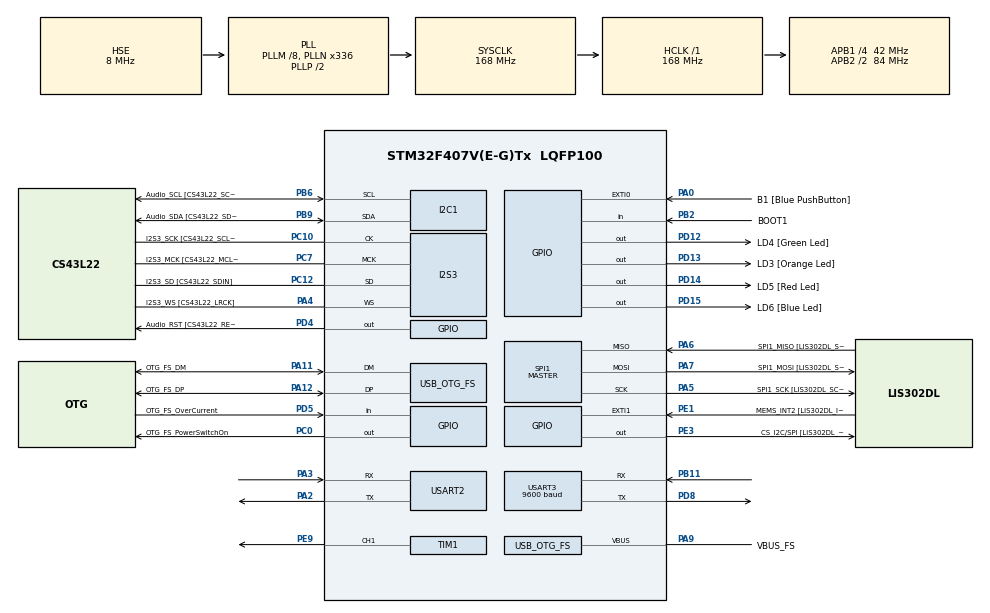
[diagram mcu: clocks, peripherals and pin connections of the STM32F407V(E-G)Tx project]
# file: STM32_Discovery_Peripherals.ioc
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Dma.Request0=USART3_RX
Dma.Request1=USART2_RX
Dma.USART2_RX.1.Direction=DMA_PERIPH_TO_MEMORY
Dma.USART2_RX.1.FIFOMode=DMA_FIFOMODE_DISABLE
Dma.USART2_RX.1.Instance=DMA1_Stream5
Dma.USART2_RX.1.MemDataAlignment=DMA_MDATAALIGN_BYTE
Dma.USART2_RX.1.MemInc=DMA_MINC_ENABLE
Dma.USART2_RX.1.Mode=DMA_CIRCULAR
Dma.USART2_RX.1.PeriphDataAlignment=DMA_PDATAALIGN_BYTE
Dma.USART2_RX.1.PeriphInc=DMA_PINC_DISABLE
Dma.USART2_RX.1.Priority=DMA_PRIORITY_LOW
Dma.USART3_RX.0.Direction=DMA_PERIPH_TO_MEMORY
Dma.USART3_RX.0.FIFOMode=DMA_FIFOMODE_DISABLE
Dma.USART3_RX.0.Instance=DMA1_Stream1
Dma.USART3_RX.0.MemDataAlignment=DMA_MDATAALIGN_BYTE
Dma.USART3_RX.0.MemInc=DMA_MINC_ENABLE
Dma.USART3_RX.0.Mode=DMA_CIRCULAR
Dma.USART3_RX.0.PeriphDataAlignment=DMA_PDATAALIGN_BYTE
Dma.USART3_RX.0.PeriphInc=DMA_PINC_DISABLE
Dma.USART3_RX.0.Priority=DMA_PRIORITY_LOW
I2S3.AudioFreq-Half_Duplex_Master=I2S_AUDIOFREQ_96K
I2S3.ErrorAudioFreq=-2.34 %
I2S3.ErrorAudioFreq-Half_Duplex_Master=0.8 %
I2S3.FullDuplexMode=I2S_FULLDUPLEXMODE_DISABLE
I2S3.Instance=SPI$Index
I2S3.RealAudioFreq=93.75 KHz
I2S3.RealAudioFreq-Half_Duplex_Master=96.774 KHz
I2S3.VirtualMode=I2S_MODE_MASTER
Mcu.Family=STM32F4
Mcu.Name=STM32F407V(E-G)Tx
Mcu.Package=LQFP100
NVIC.DMA1_Stream1_IRQn=true\:0\:0\:false\:false\:true\:false\:true\:true
NVIC.DMA1_Stream5_IRQn=true\:0\:0\:false\:false\:true\:false\:true\:true
NVIC.OTG_FS_IRQn=true\:0\:0\:false\:false\:true\:true\:true\:true
NVIC.PriorityGroup=NVIC_PRIORITYGROUP_0
NVIC.USART2_IRQn=true\:0\:0\:false\:false\:true\:true\:true\:true
PA0-WKUP.GPIO_Label=B1 [Blue PushButton]
PA0-WKUP.GPIO_ModeDefaultEXTI=GPIO_MODE_EVT_RISING
PA0-WKUP.GPIO_PuPd=GPIO_NOPULL
PA0-WKUP.Signal=GPXTI0
PA10.GPIO_Label=OTG_FS_ID
PA10.GPIO_Mode=GPIO_MODE_AF_PP
PA10.GPIO_PuPd=GPIO_NOPULL
PA10.GPIO_Speed=GPIO_SPEED_FREQ_LOW
PA10.Signal=USB_OTG_FS_ID
PA11.GPIO_Label=OTG_FS_DM
PA11.GPIO_Mode=GPIO_MODE_AF_PP
PA11.GPIO_PuPd=GPIO_NOPULL
PA11.GPIO_Speed=GPIO_SPEED_FREQ_LOW
PA11.Mode=Host_Only
PA11.Signal=USB_OTG_FS_DM
PA12.GPIO_Label=OTG_FS_DP
PA12.GPIO_Mode=GPIO_MODE_AF_PP
PA12.GPIO_PuPd=GPIO_NOPULL
PA12.GPIO_Speed=GPIO_SPEED_FREQ_LOW
PA12.Mode=Host_Only
PA12.Signal=USB_OTG_FS_DP
PA13.GPIO_Label=SWDIO
PA13.Mode=Serial_Wire
PA13.Signal=SYS_JTMS-SWDIO
PA14.GPIO_Label=SWCLK
PA14.Mode=Serial_Wire
PA14.Signal=SYS_JTCK-SWCLK
PA2.Mode=Asynchronous
PA2.Signal=USART2_TX
PA3.Mode=Asynchronous
PA3.Signal=USART2_RX
PA4.GPIO_Label=I2S3_WS [CS43L22_LRCK]
PA4.GPIO_Mode=GPIO_MODE_AF_PP
PA4.GPIO_PuPd=GPIO_NOPULL
PA4.GPIO_Speed=GPIO_SPEED_FREQ_LOW
PA4.Mode=Half_Duplex_Master
PA4.Signal=I2S3_WS
PA5.GPIO_Label=SPI1_SCK [LIS302DL_SCL/SPC]
PA5.GPIO_Mode=GPIO_MODE_AF_PP
PA5.GPIO_PuPd=GPIO_NOPULL
PA5.GPIO_Speed=GPIO_SPEED_FREQ_LOW
PA5.Mode=Full_Duplex_Master
PA5.Signal=SPI1_SCK
PA6.GPIO_Label=SPI1_MISO [LIS302DL_SDO]
PA6.GPIO_Mode=GPIO_MODE_AF_PP
PA6.GPIO_PuPd=GPIO_NOPULL
PA6.GPIO_Speed=GPIO_SPEED_FREQ_LOW
PA6.Mode=Full_Duplex_Master
PA6.Signal=SPI1_MISO
PA7.GPIO_Label=SPI1_MOSI [LIS302DL_SDA/SDI/SDO]
PA7.GPIO_Mode=GPIO_MODE_AF_PP
PA7.GPIO_PuPd=GPIO_NOPULL
PA7.GPIO_Speed=GPIO_SPEED_FREQ_LOW
PA7.Mode=Full_Duplex_Master
PA7.Signal=SPI1_MOSI
PA9.GPIO_Label=VBUS_FS
PA9.GPIO_Mode=GPIO_MODE_INPUT
PA9.GPIO_PuPd=GPIO_NOPULL
PA9.Mode=Activate_VBUS
PA9.Signal=USB_OTG_FS_VBUS
PB10.GPIO_Label=CLK_IN [MP45DT02_CLK]
PB10.GPIO_Mode=GPIO_MODE_AF_PP
PB10.GPIO_PuPd=GPIO_NOPULL
PB10.GPIO_Speed=GPIO_SPEED_FREQ_LOW
PB10.Signal=I2S2_CK
PB11.Mode=Asynchronous
PB11.Signal=USART3_RX
PB2.GPIO_Label=BOOT1
PB2.GPIO_Mode=GPIO_MODE_INPUT
PB2.GPIO_PuPd=GPIO_NOPULL
PB2.Signal=GPIO_Input
PB3.GPIO_Label=SWO
PB3.Signal=SYS_JTDO-SWO
PB6.GPIO_Label=Audio_SCL [CS43L22_SCL]
PB6.GPIO_Mode=GPIO_MODE_AF_OD
PB6.GPIO_Pu=GPIO_PULLUP
PB6.GPIO_PuPd=GPIO_NOPULL
PB6.GPIO_Speed=GPIO_SPEED_FREQ_LOW
PB6.Mode=I2C
PB6.Signal=I2C1_SCL
PB9.GPIO_Label=Audio_SDA [CS43L22_SDA]
PB9.GPIO_Mode=GPIO_MODE_AF_OD
PB9.GPIO_Pu=GPIO_PULLUP
PB9.GPIO_PuPd=GPIO_NOPULL
PB9.GPIO_Speed=GPIO_SPEED_FREQ_LOW
PB9.Mode=I2C
PB9.Signal=I2C1_SDA
PC0.GPIO_Label=OTG_FS_PowerSwitchOn
PC0.GPIO_PuPd=GPIO_NOPULL
PC0.GPIO_Speed=GPIO_SPEED_FREQ_LOW
PC0.PinState=GPIO_PIN_SET
PC0.Signal=GPIO_Output
PC10.GPIO_Label=I2S3_SCK [CS43L22_SCLK]
PC10.GPIO_Mode=GPIO_MODE_AF_PP
PC10.GPIO_PuPd=GPIO_NOPULL
PC10.GPIO_Speed=GPIO_SPEED_FREQ_LOW
PC10.Mode=Half_Duplex_Master
PC10.Signal=I2S3_CK
PC12.GPIO_Label=I2S3_SD [CS43L22_SDIN]
PC12.GPIO_Mode=GPIO_MODE_AF_PP
PC12.GPIO_PuPd=GPIO_NOPULL
PC12.GPIO_Speed=GPIO_SPEED_FREQ_LOW
PC12.Mode=Half_Duplex_Master
PC12.Signal=I2S3_SD
PC14-OSC32_IN.GPIO_Label=PC14-OSC32_IN
PC14-OSC32_IN.Mode=LSE-External-Oscillator
PC14-OSC32_IN.Signal=RCC_OSC32_IN
PC15-OSC32_OUT.GPIO_Label=PC15-OSC32_OUT
PC15-OSC32_OUT.Mode=LSE-External-Oscillator
PC15-OSC32_OUT.Signal=RCC_OSC32_OUT
PC3.GPIO_Label=PDM_OUT [MP45DT02_DOUT]
PC3.GPIO_Mode=GPIO_MODE_AF_PP
PC3.GPIO_PuPd=GPIO_NOPULL
PC3.GPIO_Speed=GPIO_SPEED_FREQ_LOW
PC3.Signal=I2S2_SD
PC7.GPIO_Label=I2S3_MCK [CS43L22_MCLK]
PC7.GPIO_Mode=GPIO_MODE_AF_PP
PC7.GPIO_PuPd=GPIO_NOPULL
PC7.GPIO_Speed=GPIO_SPEED_FREQ_LOW
PC7.Mode=Master_Clock_Activated
PC7.Signal=I2S3_MCK
PD12.GPIO_Label=LD4 [Green Led]
PD12.GPIO_PuPd=GPIO_NOPULL
PD12.GPIO_Speed=GPIO_SPEED_FREQ_LOW
PD12.Signal=GPIO_Output
PD13.GPIO_Label=LD3 [Orange Led]
PD13.GPIO_PuPd=GPIO_NOPULL
PD13.GPIO_Speed=GPIO_SPEED_FREQ_LOW
PD13.Signal=GPIO_Output
PD14.GPIO_Label=LD5 [Red Led]
PD14.GPIO_PuPd=GPIO_NOPULL
PD14.GPIO_Speed=GPIO_SPEED_FREQ_LOW
PD14.Signal=GPIO_Output
PD15.GPIO_Label=LD6 [Blue Led]
PD15.GPIO_PuPd=GPIO_NOPULL
PD15.GPIO_Speed=GPIO_SPEED_FREQ_LOW
PD15.Signal=GPIO_Output
PD4.GPIO_Label=Audio_RST [CS43L22_RESET]
PD4.GPIO_PuPd=GPIO_NOPULL
PD4.GPIO_Speed=GPIO_SPEED_FREQ_LOW
PD4.Signal=GPIO_Output
PD5.GPIO_Label=OTG_FS_OverCurrent
PD5.GPIO_Mode=GPIO_MODE_INPUT
PD5.GPIO_PuPd=GPIO_NOPULL
PD5.Signal=GPIO_Input
PD8.Mode=Asynchronous
PD8.Signal=USART3_TX
PE1.GPIO_Label=MEMS_INT2 [LIS302DL_INT2]
PE1.GPIO_ModeDefaultEXTI=GPIO_MODE_EVT_RISING
PE1.GPIO_PuPd=GPIO_NOPULL
PE1.Signal=GPXTI1
PE3.GPIO_Label=CS_I2C/SPI [LIS302DL_CS_I2C/SPI]
PE3.GPIO_PuPd=GPIO_NOPULL
PE3.GPIO_Speed=GPIO_SPEED_FREQ_LOW
PE3.Signal=GPIO_Output
PE9.Signal=S_TIM1_CH1
PH0-OSC_IN.GPIO_Label=PH0-OSC_IN
PH0-OSC_IN.Mode=HSE-External-Oscillator
PH0-OSC_IN.Signal=RCC_OSC_IN
PH1-OSC_OUT.GPIO_Label=PH1-OSC_OUT
PH1-OSC_OUT.Mode=HSE-External-Oscillator
PH1-OSC_OUT.Signal=RCC_OSC_OUT
ProjectManager.HeapSize=0x200
ProjectManager.StackSize=0x400
ProjectManager.TargetToolchain=STM32CubeIDE
RCC.48MHZClocksFreq_Value=48000000
RCC.AHBFreq_Value=168000000
RCC.APB1CLKDivider=RCC_HCLK_DIV4
RCC.APB1Freq_Value=42000000
RCC.APB1TimFreq_Value=84000000
RCC.APB2CLKDivider=RCC_HCLK_DIV2
RCC.APB2Freq_Value=84000000
RCC.APB2TimFreq_Value=168000000
RCC.CortexFreq_Value=168000000
RCC.HCLKFreq_Value=168000000
RCC.HSE_VALUE=8000000
RCC.HSI_VALUE=16000000
RCC.PLLM=8
RCC.PLLN=336
RCC.PLLQ=7
RCC.SYSCLKFreq_VALUE=168000000
RCC.SYSCLKSource=RCC_SYSCLKSOURCE_PLLCLK
RCC.VCOOutputFreq_Value=336000000
SH.S_TIM1_CH1.0=TIM1_CH1,PWM Generation1 CH1
SPI1.BaudRatePrescaler-Full_Duplex_Master=SPI_BAUDRATEPRESCALER_2
SPI1.CalculateBaudRate-Full_Duplex_Master=42.0 MBits/s
SPI1.Direction=SPI_DIRECTION_2LINES
SPI1.Mode=SPI_MODE_MASTER
SPI1.Mode-Full_Duplex_Master=SPI_MODE_MASTER
SPI1.VirtualType=VM_MASTER
TIM1.Channel-PWM\ Generation1\ CH1=TIM_CHANNEL_1
TIM1.Period=20000
TIM1.Prescaler=168
USART2.VirtualMode=VM_ASYNC
USART3.BaudRate=9600
USART3.VirtualMode=VM_ASYNC
USB_HOST.BSP.number=1
USB_HOST.USBH_HandleTypeDef-CDC_FS=hUsbHostFS
USB_HOST.VirtualModeFS=Cdc
USB_HOST0.BSP.STBoard=false
USB_HOST0.BSP.api=Unknown
USB_HOST0.BSP.instance=PC0
USB_HOST0.BSP.ip=GPIO
USB_HOST0.BSP.mode=Output
USB_HOST0.BSP.name=Drive_VBUS_FS
USB_HOST0.BSP.solution=PC0
USB_OTG_FS.VirtualMode=Host_Only
USB_OTG_FS.phy_itface=HCD_PHY_EMBEDDED
VP_TIM1_VS_ClockSourceINT.Mode=Internal
VP_USB_HOST_VS_USB_HOST_CDC_FS.Mode=CDC_FS
board=STM32F407G-DISC1

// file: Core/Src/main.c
/* USER CODE BEGIN Header */
/**
  ******************************************************************************
  * @file           : main.c
  * @brief          : Main program body
  ******************************************************************************
  * @attention
  *
  * Copyright (c) 2024 STMicroelectronics.
  * All rights reserved.
  *
  * This software is licensed under terms that can be found in the LICENSE file
  * in the root directory of this software component.
  * If no LICENSE file comes with this software, it is provided AS-IS.
  *
  ******************************************************************************
  */
/* USER CODE END Header */
#include "main.h"
#include "usb_host.h"

/* USER CODE BEGIN Includes */
#include <math.h>
#include <string.h>
#include <stdio.h>
/* USER CODE END Includes */

/* USER CODE BEGIN PTD */
void format_data(float time, float latitude, float longitude);
void printd();
int parse_GPS(char* start, char* end);
/* USER CODE END PTD */

/* USER CODE BEGIN PD */
#define LOOP_DELAY 1000
#define GPS_BUF_N 120//512
#define BNO055_ADDRESS 0x28
#define BNO055_MODE_COMPASS 0x09
#define BNO055_ADDR_OPRMODE 0x3D
#define BNO055_ADDR_HEADING 0x1A
/* USER CODE END PD */

I2C_HandleTypeDef hi2c1;

I2S_HandleTypeDef hi2s3;

SPI_HandleTypeDef hspi1;

TIM_HandleTypeDef htim1;

UART_HandleTypeDef huart2;
UART_HandleTypeDef huart3;
DMA_HandleTypeDef hdma_usart2_rx;
DMA_HandleTypeDef hdma_usart3_rx;

/* USER CODE BEGIN PV */
//char* items[6];
char GPS_Buf[GPS_BUF_N];
uint8_t Rx_Data_Ready_Flag = 0;
char *GPS_Data_Ptr;

float Time, Latitude, Longitude;
int lat_degrees, long_degrees;
int lat_min, long_min;
int lat_sec, lonh_sec;
float Heading;
int Hours, Min, Sec;

uint8_t UART3_Rx_buf[GPS_BUF_N];
uint8_t UART2_Tx_buf[100];

/* USER CODE END PV */

void SystemClock_Config(void);
static void MX_GPIO_Init(void);
static void MX_DMA_Init(void);
static void MX_I2C1_Init(void);
static void MX_I2S3_Init(void);
static void MX_SPI1_Init(void);
static void MX_USART2_UART_Init(void);
static void MX_USART3_UART_Init(void);
static void MX_TIM1_Init(void);
void MX_USB_HOST_Process(void);

/* USER CODE BEGIN 0 */

void HAL_UART_RxCpltCallback(UART_HandleTypeDef *huart) {
	if (huart == &huart2) {
		HAL_GPIO_TogglePin(GPIOD, GPIO_PIN_15); // Blue LED
		memcpy(GPS_Buf, UART3_Rx_buf, GPS_BUF_N-1);
		GPS_Buf[GPS_BUF_N-1] = '\0';
		//HAL_UART_Transmit(&huart2, GPS_Buf, strlen((char*) GPS_Buf), HAL_MAX_DELAY);
		char* Data_Buffer_ptr = strnstr((char*) GPS_Buf, "GPGGA", GPS_BUF_N);
		if (Data_Buffer_ptr == 0) return;

		/*if (Data_Buffer_ptr != NULL) {
			// Print the value of Data_Buffer_ptr to see its location
			HAL_UART_Transmit(&huart2, (uint8_t*) "Here!\r\n", 8, HAL_MAX_DELAY);
		    HAL_UART_Transmit(&huart2, (uint8_t*) Data_Buffer_ptr, strlen(Data_Buffer_ptr), HAL_MAX_DELAY);
		} else {
		    // If "GPGGA" sentence not found, print an error message
		    HAL_UART_Transmit(&huart2, (uint8_t*) "GPGGA not found\r\n", 17, HAL_MAX_DELAY);
		}
		*/

		parse_GPS(Data_Buffer_ptr, GPS_Buf+GPS_BUF_N);

		//float t, lat, lon;
		//int res = sscanf((char*) Data_Buffer_ptr, "GPGGA,%f,%f,N,%f,W", &t, &lat, &lon);
		//sscanf((char*) items[2], "GPGGA,%f,%f,N,%f,W", &t, &lat, &lon);
		/*if (res == 3) {
			Time = t;
			Latitude = lat;
			Longitude = lon;
		}*/
	}
}

int parse_GPS(char* start, char* end) {
	// GPGGA,035140.00,4739.22314,N,12218.23740,W,2,08,1.14,49.3,M,-18.8,M,,0000*55

	char* ptr = start;

	// Put this outside, make it available to other functions
	char* items[6];
	int i = 0;

	items[i++] = ptr;

	while (ptr < end) {
		if (*ptr == ',') {
			*ptr = '\0';
			if (i < 6) {
				items[i++] = ptr+1;
			} else break;
		}
		ptr++;
	}

	Time = atof(items[1]);
	Latitude = atof(items[2]);
	Longitude = atof(items[4]);

	format_data(Time, Latitude, Longitude);

	//HAL_UART_Transmit(&huart2, items[1], strlen((char*) items[1]), HAL_MAX_DELAY);
	//HAL_UART_Transmit(&huart2, items[2], strlen((char*) items[2]), HAL_MAX_DELAY);
	//HAL_UART_Transmit(&huart2, items[4], strlen((char*) items[4]), HAL_MAX_DELAY);

	return 0;
}

void format_data(float time, float latitude, float longitude) {

	// GPGGA,035140.00,4739.22314,N,12218.23740,W,2,08,1.14,49.3,M,-18.8,M,,0000*55
	Hours = (int)time / 10000;
	Min = (int)(time- (Hours * 10000)) / 100;
	Sec = (int)(time - ((Hours * 10000) + (Min * 100)));

	// 4739.22314
	lat_degrees = (int)( latitude / 100); // 4739.22314 / 100 = 47
	lat_min = (int)(latitude - (lat_degrees * 100)); // 4739.22314 - 4700 = 39.22314 --> 39
	lat_sec = (int)((latitude - ((int)latitude)) * 60); // 4739.22314 - 4739 = .22314 * 60 = 13

	// 12218.23740
	long_degrees = (int)( longitude / 100); // 12218.23740 / 100 = 122
	long_min = (int)(longitude - (lat_degrees * 100)); // 12218.23740 - 12200 = 18.23740 --> 18
	long_sec = (int)((longitude - ((int)longitude)) * 60); // 12218.23740 - 12218 = .23740 * 60 = 14

	sprintf((char*) UART2_Tx_buf, "Time= %d:%d:%d, Latitude = Degrees:%d Min:%d Sec:%d, Longitude = Degrees:%d Min:%d Sec:%d\r\n",
				Hours-8, Min, Sec, lat_degrees, lat_min, lat_sec, long_degrees, long_min, long_sec);
	printd();
}

/*void format_data(float Time, float Lat, float Long) {
	Hours = (int)Time / 10000;
	Min = (int)(Time - (Hours * 10000)) / 100;
	Sec = (int)(Time - ((Hours * 10000) + (Min * 100)));
	//sprintf((char*) UART2_Tx_buf, "Time=%d:%d:%d Latitude=%f, Longitude=%f\r\n",
			//Hours-8, Min, Sec, Lat, Long);
	//printd();
}*/

void read_heading() {
	uint8_t data[2];
	HAL_I2C_Mem_Read(&hi2c1, BNO055_ADDRESS << 1, BNO055_ADDR_HEADING, I2C_MEMADD_SIZE_8BIT, data, 2, HAL_MAX_DELAY);
	Heading = (float)((int16_t)(data[1] << 8 | data[0])) / 16.0;
}

void set_steering(float direction) {
	int pulse = direction*500+1500;
	if (pulse > 2000) pulse = 2000;
	if (pulse < 1000) pulse = 1000;
	__HAL_TIM_SET_COMPARE(&htim1, TIM_CHANNEL_1, pulse);
}

void printd() {
	HAL_UART_Transmit(&huart2, UART2_Tx_buf, strlen((char*) UART2_Tx_buf), HAL_MAX_DELAY);
}
/* USER CODE END 0 */

int main(void)
{

  /* MCU Configuration--------------------------------------------------------*/

  /* Reset of all peripherals, Initializes the Flash interface and the Systick. */
  HAL_Init();

  /* Configure the system clock */
  SystemClock_Config();

  /* Initialize all configured peripherals */
  MX_GPIO_Init();
  MX_DMA_Init();
  MX_I2C1_Init();
  MX_I2S3_Init();
  MX_SPI1_Init();
  MX_USB_HOST_Init();
  MX_USART2_UART_Init();
  MX_USART3_UART_Init();
  MX_TIM1_Init();
  /* USER CODE BEGIN 2 */
  int i = 0;
  float comp_f = 0;
  memset(UART3_Rx_buf, 0, GPS_BUF_N);
  HAL_TIM_PWM_Start(&htim1, TIM_CHANNEL_1);
  HAL_UART_Receive_DMA(&huart2, UART3_Rx_buf, GPS_BUF_N);
  uint8_t mode = BNO055_MODE_COMPASS;
  HAL_I2C_Mem_Write(&hi2c1, BNO055_ADDRESS << 1, BNO055_ADDR_OPRMODE, I2C_MEMADD_SIZE_8BIT, &mode, 1, HAL_MAX_DELAY);
  HAL_UART_Transmit(&huart2, (uint8_t*) "Hello!\r\n", 8, HAL_MAX_DELAY);
  /* USER CODE END 2 */

  /* Infinite loop */
  while (1)
  {
    MX_USB_HOST_Process();

    /* USER CODE BEGIN 3 */
    HAL_GPIO_TogglePin(GPIOD, GPIO_PIN_13); // Orange LED
    //if (i % 10 == 0) format_data(Time, Latitude, Longitude);
    //read_heading();
    //sprintf((char*) UART2_Tx_buf, "%f\r\n", Heading);
    //printd();

    //float comp = (Heading > 180 ? Heading-360 : Heading)/180.0;
    //comp_f += (comp-comp_f)*.01;

    //set_steering(comp_f);
    HAL_Delay(LOOP_DELAY);
    i++;
  }
  /* USER CODE END 3 */
}

void SystemClock_Config(void)
{
  RCC_OscInitTypeDef RCC_OscInitStruct = {0};
  RCC_ClkInitTypeDef RCC_ClkInitStruct = {0};

  /** Configure the main internal regulator output voltage
  */
  __HAL_RCC_PWR_CLK_ENABLE();
  __HAL_PWR_VOLTAGESCALING_CONFIG(PWR_REGULATOR_VOLTAGE_SCALE1);

  /** Initializes the RCC Oscillators according to the specified parameters
  * in the RCC_OscInitTypeDef structure.
  */
  RCC_OscInitStruct.OscillatorType = RCC_OSCILLATORTYPE_HSE;
  RCC_OscInitStruct.HSEState = RCC_HSE_ON;
  RCC_OscInitStruct.PLL.PLLState = RCC_PLL_ON;
  RCC_OscInitStruct.PLL.PLLSource = RCC_PLLSOURCE_HSE;
  RCC_OscInitStruct.PLL.PLLM = 8;
  RCC_OscInitStruct.PLL.PLLN = 336;
  RCC_OscInitStruct.PLL.PLLP = RCC_PLLP_DIV2;
  RCC_OscInitStruct.PLL.PLLQ = 7;
  if (HAL_RCC_OscConfig(&RCC_OscInitStruct) != HAL_OK)
  {
    Error_Handler();
  }

  /** Initializes the CPU, AHB and APB buses clocks
  */
  RCC_ClkInitStruct.ClockType = RCC_CLOCKTYPE_HCLK|RCC_CLOCKTYPE_SYSCLK
                              |RCC_CLOCKTYPE_PCLK1|RCC_CLOCKTYPE_PCLK2;
  RCC_ClkInitStruct.SYSCLKSource = RCC_SYSCLKSOURCE_PLLCLK;
  RCC_ClkInitStruct.AHBCLKDivider = RCC_SYSCLK_DIV1;
  RCC_ClkInitStruct.APB1CLKDivider = RCC_HCLK_DIV4;
  RCC_ClkInitStruct.APB2CLKDivider = RCC_HCLK_DIV2;

  if (HAL_RCC_ClockConfig(&RCC_ClkInitStruct, FLASH_LATENCY_5) != HAL_OK)
  {
    Error_Handler();
  }
}

static void MX_I2C1_Init(void)
{

  hi2c1.Instance = I2C1;
  hi2c1.Init.ClockSpeed = 100000;
  hi2c1.Init.DutyCycle = I2C_DUTYCYCLE_2;
  hi2c1.Init.OwnAddress1 = 0;
  hi2c1.Init.AddressingMode = I2C_ADDRESSINGMODE_7BIT;
  hi2c1.Init.DualAddressMode = I2C_DUALADDRESS_DISABLE;
  hi2c1.Init.OwnAddress2 = 0;
  hi2c1.Init.GeneralCallMode = I2C_GENERALCALL_DISABLE;
  hi2c1.Init.NoStretchMode = I2C_NOSTRETCH_DISABLE;
  if (HAL_I2C_Init(&hi2c1) != HAL_OK)
  {
    Error_Handler();
  }

}

static void MX_I2S3_Init(void)
{

  hi2s3.Instance = SPI3;
  hi2s3.Init.Mode = I2S_MODE_MASTER_TX;
  hi2s3.Init.Standard = I2S_STANDARD_PHILIPS;
  hi2s3.Init.DataFormat = I2S_DATAFORMAT_16B;
  hi2s3.Init.MCLKOutput = I2S_MCLKOUTPUT_ENABLE;
  hi2s3.Init.AudioFreq = I2S_AUDIOFREQ_96K;
  hi2s3.Init.CPOL = I2S_CPOL_LOW;
  hi2s3.Init.ClockSource = I2S_CLOCK_PLL;
  hi2s3.Init.FullDuplexMode = I2S_FULLDUPLEXMODE_DISABLE;
  if (HAL_I2S_Init(&hi2s3) != HAL_OK)
  {
    Error_Handler();
  }

}

static void MX_SPI1_Init(void)
{

  /* SPI1 parameter configuration*/
  hspi1.Instance = SPI1;
  hspi1.Init.Mode = SPI_MODE_MASTER;
  hspi1.Init.Direction = SPI_DIRECTION_2LINES;
  hspi1.Init.DataSize = SPI_DATASIZE_8BIT;
  hspi1.Init.CLKPolarity = SPI_POLARITY_LOW;
  hspi1.Init.CLKPhase = SPI_PHASE_1EDGE;
  hspi1.Init.NSS = SPI_NSS_SOFT;
  hspi1.Init.BaudRatePrescaler = SPI_BAUDRATEPRESCALER_2;
  hspi1.Init.FirstBit = SPI_FIRSTBIT_MSB;
  hspi1.Init.TIMode = SPI_TIMODE_DISABLE;
  hspi1.Init.CRCCalculation = SPI_CRCCALCULATION_DISABLE;
  hspi1.Init.CRCPolynomial = 10;
  if (HAL_SPI_Init(&hspi1) != HAL_OK)
  {
    Error_Handler();
  }

}

static void MX_TIM1_Init(void)
{

  TIM_ClockConfigTypeDef sClockSourceConfig = {0};
  TIM_MasterConfigTypeDef sMasterConfig = {0};
  TIM_OC_InitTypeDef sConfigOC = {0};
  TIM_BreakDeadTimeConfigTypeDef sBreakDeadTimeConfig = {0};

  htim1.Instance = TIM1;
  htim1.Init.Prescaler = 168;
  htim1.Init.CounterMode = TIM_COUNTERMODE_UP;
  htim1.Init.Period = 20000;
  htim1.Init.ClockDivision = TIM_CLOCKDIVISION_DIV1;
  htim1.Init.RepetitionCounter = 0;
  htim1.Init.AutoReloadPreload = TIM_AUTORELOAD_PRELOAD_DISABLE;
  if (HAL_TIM_Base_Init(&htim1) != HAL_OK)
  {
    Error_Handler();
  }
  sClockSourceConfig.ClockSource = TIM_CLOCKSOURCE_INTERNAL;
  if (HAL_TIM_ConfigClockSource(&htim1, &sClockSourceConfig) != HAL_OK)
  {
    Error_Handler();
  }
  if (HAL_TIM_PWM_Init(&htim1) != HAL_OK)
  {
    Error_Handler();
  }
  sMasterConfig.MasterOutputTrigger = TIM_TRGO_RESET;
  sMasterConfig.MasterSlaveMode = TIM_MASTERSLAVEMODE_DISABLE;
  if (HAL_TIMEx_MasterConfigSynchronization(&htim1, &sMasterConfig) != HAL_OK)
  {
    Error_Handler();
  }
  sConfigOC.OCMode = TIM_OCMODE_PWM1;
  sConfigOC.Pulse = 0;
  sConfigOC.OCPolarity = TIM_OCPOLARITY_HIGH;
  sConfigOC.OCNPolarity = TIM_OCNPOLARITY_HIGH;
  sConfigOC.OCFastMode = TIM_OCFAST_DISABLE;
  sConfigOC.OCIdleState = TIM_OCIDLESTATE_RESET;
  sConfigOC.OCNIdleState = TIM_OCNIDLESTATE_RESET;
  if (HAL_TIM_PWM_ConfigChannel(&htim1, &sConfigOC, TIM_CHANNEL_1) != HAL_OK)
  {
    Error_Handler();
  }
  sBreakDeadTimeConfig.OffStateRunMode = TIM_OSSR_DISABLE;
  sBreakDeadTimeConfig.OffStateIDLEMode = TIM_OSSI_DISABLE;
  sBreakDeadTimeConfig.LockLevel = TIM_LOCKLEVEL_OFF;
  sBreakDeadTimeConfig.DeadTime = 0;
  sBreakDeadTimeConfig.BreakState = TIM_BREAK_DISABLE;
  sBreakDeadTimeConfig.BreakPolarity = TIM_BREAKPOLARITY_HIGH;
  sBreakDeadTimeConfig.AutomaticOutput = TIM_AUTOMATICOUTPUT_DISABLE;
  if (HAL_TIMEx_ConfigBreakDeadTime(&htim1, &sBreakDeadTimeConfig) != HAL_OK)
  {
    Error_Handler();
  }
  HAL_TIM_MspPostInit(&htim1);

}

static void MX_USART2_UART_Init(void)
{

  huart2.Instance = USART2;
  huart2.Init.BaudRate = 115200;
  huart2.Init.WordLength = UART_WORDLENGTH_8B;
  huart2.Init.StopBits = UART_STOPBITS_1;
  huart2.Init.Parity = UART_PARITY_NONE;
  huart2.Init.Mode = UART_MODE_TX_RX;
  huart2.Init.HwFlowCtl = UART_HWCONTROL_NONE;
  huart2.Init.OverSampling = UART_OVERSAMPLING_16;
  if (HAL_UART_Init(&huart2) != HAL_OK)
  {
    Error_Handler();
  }

}

static void MX_USART3_UART_Init(void)
{

  huart3.Instance = USART3;
  huart3.Init.BaudRate = 9600;
  huart3.Init.WordLength = UART_WORDLENGTH_8B;
  huart3.Init.StopBits = UART_STOPBITS_1;
  huart3.Init.Parity = UART_PARITY_NONE;
  huart3.Init.Mode = UART_MODE_TX_RX;
  huart3.Init.HwFlowCtl = UART_HWCONTROL_NONE;
  huart3.Init.OverSampling = UART_OVERSAMPLING_16;
  if (HAL_UART_Init(&huart3) != HAL_OK)
  {
    Error_Handler();
  }

}

static void MX_DMA_Init(void)
{

  /* DMA controller clock enable */
  __HAL_RCC_DMA1_CLK_ENABLE();

  /* DMA interrupt init */
  /* DMA1_Stream1_IRQn interrupt configuration */
  HAL_NVIC_SetPriority(DMA1_Stream1_IRQn, 0, 0);
  HAL_NVIC_EnableIRQ(DMA1_Stream1_IRQn);
  /* DMA1_Stream5_IRQn interrupt configuration */
  HAL_NVIC_SetPriority(DMA1_Stream5_IRQn, 0, 0);
  HAL_NVIC_EnableIRQ(DMA1_Stream5_IRQn);

}

static void MX_GPIO_Init(void)
{
  GPIO_InitTypeDef GPIO_InitStruct = {0};

  /* GPIO Ports Clock Enable */
  __HAL_RCC_GPIOE_CLK_ENABLE();
  __HAL_RCC_GPIOC_CLK_ENABLE();
  __HAL_RCC_GPIOH_CLK_ENABLE();
  __HAL_RCC_GPIOA_CLK_ENABLE();
  __HAL_RCC_GPIOB_CLK_ENABLE();
  __HAL_RCC_GPIOD_CLK_ENABLE();

  /*Configure GPIO pin Output Level */
  HAL_GPIO_WritePin(CS_I2C_SPI_GPIO_Port, CS_I2C_SPI_Pin, GPIO_PIN_RESET);

  /*Configure GPIO pin Output Level */
  HAL_GPIO_WritePin(OTG_FS_PowerSwitchOn_GPIO_Port, OTG_FS_PowerSwitchOn_Pin, GPIO_PIN_SET);

  /*Configure GPIO pin Output Level */
  HAL_GPIO_WritePin(GPIOD, LD4_Pin|LD3_Pin|LD5_Pin|LD6_Pin
                          |Audio_RST_Pin, GPIO_PIN_RESET);

  /*Configure GPIO pin : CS_I2C_SPI_Pin */
  GPIO_InitStruct.Pin = CS_I2C_SPI_Pin;
  GPIO_InitStruct.Mode = GPIO_MODE_OUTPUT_PP;
  GPIO_InitStruct.Pull = GPIO_NOPULL;
  GPIO_InitStruct.Speed = GPIO_SPEED_FREQ_LOW;
  HAL_GPIO_Init(CS_I2C_SPI_GPIO_Port, &GPIO_InitStruct);

  /*Configure GPIO pin : OTG_FS_PowerSwitchOn_Pin */
  GPIO_InitStruct.Pin = OTG_FS_PowerSwitchOn_Pin;
  GPIO_InitStruct.Mode = GPIO_MODE_OUTPUT_PP;
  GPIO_InitStruct.Pull = GPIO_NOPULL;
  GPIO_InitStruct.Speed = GPIO_SPEED_FREQ_LOW;
  HAL_GPIO_Init(OTG_FS_PowerSwitchOn_GPIO_Port, &GPIO_InitStruct);

  /*Configure GPIO pin : PDM_OUT_Pin */
  GPIO_InitStruct.Pin = PDM_OUT_Pin;
  GPIO_InitStruct.Mode = GPIO_MODE_AF_PP;
  GPIO_InitStruct.Pull = GPIO_NOPULL;
  GPIO_InitStruct.Speed = GPIO_SPEED_FREQ_LOW;
  GPIO_InitStruct.Alternate = GPIO_AF5_SPI2;
  HAL_GPIO_Init(PDM_OUT_GPIO_Port, &GPIO_InitStruct);

  /*Configure GPIO pin : B1_Pin */
  GPIO_InitStruct.Pin = B1_Pin;
  GPIO_InitStruct.Mode = GPIO_MODE_EVT_RISING;
  GPIO_InitStruct.Pull = GPIO_NOPULL;
  HAL_GPIO_Init(B1_GPIO_Port, &GPIO_InitStruct);

  /*Configure GPIO pin : BOOT1_Pin */
  GPIO_InitStruct.Pin = BOOT1_Pin;
  GPIO_InitStruct.Mode = GPIO_MODE_INPUT;
  GPIO_InitStruct.Pull = GPIO_NOPULL;
  HAL_GPIO_Init(BOOT1_GPIO_Port, &GPIO_InitStruct);

  /*Configure GPIO pin : CLK_IN_Pin */
  GPIO_InitStruct.Pin = CLK_IN_Pin;
  GPIO_InitStruct.Mode = GPIO_MODE_AF_PP;
  GPIO_InitStruct.Pull = GPIO_NOPULL;
  GPIO_InitStruct.Speed = GPIO_SPEED_FREQ_LOW;
  GPIO_InitStruct.Alternate = GPIO_AF5_SPI2;
  HAL_GPIO_Init(CLK_IN_GPIO_Port, &GPIO_InitStruct);

  /*Configure GPIO pins : LD4_Pin LD3_Pin LD5_Pin LD6_Pin
                           Audio_RST_Pin */
  GPIO_InitStruct.Pin = LD4_Pin|LD3_Pin|LD5_Pin|LD6_Pin
                          |Audio_RST_Pin;
  GPIO_InitStruct.Mode = GPIO_MODE_OUTPUT_PP;
  GPIO_InitStruct.Pull = GPIO_NOPULL;
  GPIO_InitStruct.Speed = GPIO_SPEED_FREQ_LOW;
  HAL_GPIO_Init(GPIOD, &GPIO_InitStruct);

  /*Configure GPIO pin : OTG_FS_OverCurrent_Pin */
  GPIO_InitStruct.Pin = OTG_FS_OverCurrent_Pin;
  GPIO_InitStruct.Mode = GPIO_MODE_INPUT;
  GPIO_InitStruct.Pull = GPIO_NOPULL;
  HAL_GPIO_Init(OTG_FS_OverCurrent_GPIO_Port, &GPIO_InitStruct);

  /*Configure GPIO pin : MEMS_INT2_Pin */
  GPIO_InitStruct.Pin = MEMS_INT2_Pin;
  GPIO_InitStruct.Mode = GPIO_MODE_EVT_RISING;
  GPIO_InitStruct.Pull = GPIO_NOPULL;
  HAL_GPIO_Init(MEMS_INT2_GPIO_Port, &GPIO_InitStruct);

}

void Error_Handler(void)
{
  __disable_irq();
  while (1)
  {
  }
}
